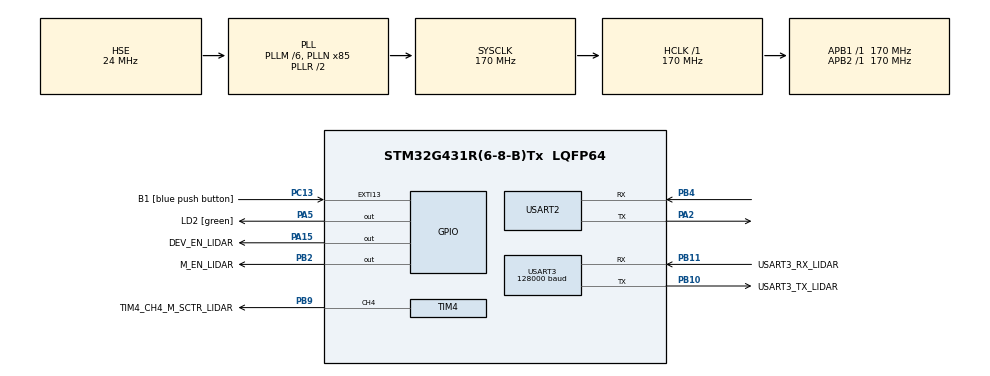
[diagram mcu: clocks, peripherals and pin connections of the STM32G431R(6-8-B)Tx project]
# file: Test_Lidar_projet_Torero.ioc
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Dma.Request0=USART3_RX
Dma.USART3_RX.0.Direction=DMA_PERIPH_TO_MEMORY
Dma.USART3_RX.0.EventEnable=DISABLE
Dma.USART3_RX.0.Instance=DMA1_Channel1
Dma.USART3_RX.0.MemDataAlignment=DMA_MDATAALIGN_BYTE
Dma.USART3_RX.0.MemInc=DMA_MINC_ENABLE
Dma.USART3_RX.0.Mode=DMA_NORMAL
Dma.USART3_RX.0.PeriphDataAlignment=DMA_PDATAALIGN_BYTE
Dma.USART3_RX.0.PeriphInc=DMA_PINC_DISABLE
Dma.USART3_RX.0.Polarity=HAL_DMAMUX_REQ_GEN_RISING
Dma.USART3_RX.0.Priority=DMA_PRIORITY_LOW
Dma.USART3_RX.0.RequestNumber=1
Dma.USART3_RX.0.SignalID=NONE
Dma.USART3_RX.0.SyncEnable=DISABLE
Dma.USART3_RX.0.SyncPolarity=HAL_DMAMUX_SYNC_NO_EVENT
Dma.USART3_RX.0.SyncRequestNumber=1
Dma.USART3_RX.0.SyncSignalID=NONE
Mcu.Family=STM32G4
Mcu.Name=STM32G431R(6-8-B)Tx
Mcu.Package=LQFP64
NVIC.DMA1_Channel1_IRQn=true\:0\:0\:false\:false\:true\:false\:true\:true
NVIC.PriorityGroup=NVIC_PRIORITYGROUP_4
NVIC.USART3_IRQn=true\:0\:0\:false\:false\:true\:true\:true\:true
PA13.GPIO_Label=T_SWDIO
PA13.Mode=Serial_Wire
PA13.Signal=SYS_JTMS-SWDIO
PA14.GPIO_Label=T_SWCLK
PA14.Mode=Serial_Wire
PA14.Signal=SYS_JTCK-SWCLK
PA15.GPIO_Label=DEV_EN_LIDAR
PA15.PinState=GPIO_PIN_SET
PA15.Signal=GPIO_Output
PA2.Mode=Asynchronous
PA2.Signal=USART2_TX
PA5.GPIO_Label=LD2 [green]
PA5.Signal=GPIO_Output
PB10.GPIO_Label=USART3_TX_LIDAR
PB10.Mode=Asynchronous
PB10.Signal=USART3_TX
PB11.GPIO_Label=USART3_RX_LIDAR
PB11.Mode=Asynchronous
PB11.Signal=USART3_RX
PB2.GPIO_Label=M_EN_LIDAR
PB2.PinState=GPIO_PIN_SET
PB2.Signal=GPIO_Output
PB3.GPIO_Label=T_SWO
PB3.Signal=SYS_JTDO-SWO
PB4.Mode=Asynchronous
PB4.Signal=USART2_RX
PB9.GPIO_Label=TIM4_CH4_M_SCTR_LIDAR
PB9.Signal=S_TIM4_CH4
PC13.GPIO_Label=B1 [blue push button]
PC13.Signal=GPXTI13
PC14-OSC32_IN.GPIO_Label=RCC_OSC32_OUT
PC14-OSC32_IN.Signal=RCC_OSC32_IN
PC15-OSC32_OUT.GPIO_Label=RCC_OSC32_OUT
PC15-OSC32_OUT.Signal=RCC_OSC32_OUT
PF0-OSC_IN.GPIO_Label=RCC_OSC_IN
PF0-OSC_IN.Mode=HSE-External-Oscillator
PF0-OSC_IN.Signal=RCC_OSC_IN
PF1-OSC_OUT.GPIO_Label=RCC_OSC_OUT
PF1-OSC_OUT.Mode=HSE-External-Oscillator
PF1-OSC_OUT.Signal=RCC_OSC_OUT
ProjectManager.HeapSize=0x200
ProjectManager.StackSize=0x400
ProjectManager.TargetToolchain=STM32CubeIDE
RCC.ADC12Freq_Value=170000000
RCC.AHBFreq_Value=170000000
RCC.APB1Freq_Value=170000000
RCC.APB1TimFreq_Value=170000000
RCC.APB2Freq_Value=170000000
RCC.APB2TimFreq_Value=170000000
RCC.CortexFreq_Value=170000000
RCC.EXTERNAL_CLOCK_VALUE=12288000
RCC.HCLKFreq_Value=170000000
RCC.HSE_VALUE=24000000
RCC.HSI48_VALUE=48000000
RCC.HSI_VALUE=16000000
RCC.LSE_VALUE=32768
RCC.PLLM=RCC_PLLM_DIV6
RCC.PLLN=85
RCC.PLLSourceVirtual=RCC_PLLSOURCE_HSE
RCC.RTCClockSelection=RCC_RTCCLKSOURCE_LSE
RCC.SYSCLKFreq_VALUE=170000000
RCC.SYSCLKSource=RCC_SYSCLKSOURCE_PLLCLK
RCC.USBFreq_Value=170000000
RCC.VCOOutputFreq_Value=340000000
SH.S_TIM4_CH4.0=TIM4_CH4,PWM Generation4 CH4
TIM4.Channel-PWM\ Generation4\ CH4=TIM_CHANNEL_4
USART2.VirtualMode-Asynchronous=VM_ASYNC
USART3.BaudRate=128000
USART3.VirtualMode-Asynchronous=VM_ASYNC
USART3.WordLength=WORDLENGTH_8B
VP_SYS_VS_DBSignals.Mode=DisableDeadBatterySignals
VP_TIM4_VS_ClockSourceINT.Mode=Internal
board=NUCLEO-G431RB

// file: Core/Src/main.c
/* USER CODE BEGIN Header */
/**
  ******************************************************************************
  * @file           : main.c
  * @brief          : Main program body
  ******************************************************************************
  * @attention
  *
  * Copyright (c) 2024 STMicroelectronics.
  * All rights reserved.
  *
  * This software is licensed under terms that can be found in the LICENSE file
  * in the root directory of this software component.
  * If no LICENSE file comes with this software, it is provided AS-IS.
  *
  ******************************************************************************
  */
/* USER CODE END Header */
#include "main.h"

/* USER CODE BEGIN Includes */
#include "ydlidarx4_header.h"
/* USER CODE END Includes */

TIM_HandleTypeDef htim4;

UART_HandleTypeDef huart2;
UART_HandleTypeDef huart3;
DMA_HandleTypeDef hdma_usart3_rx;

/* USER CODE BEGIN PV */
LIDAR_HandleTypeDef_t hlidar;
/* USER CODE END PV */

void SystemClock_Config(void);
static void MX_GPIO_Init(void);
static void MX_DMA_Init(void);
static void MX_TIM4_Init(void);
static void MX_USART3_UART_Init(void);
static void MX_USART2_UART_Init(void);

/* USER CODE BEGIN 0 */

int __io_putchar(int chr){
	HAL_UART_Transmit(&huart2, (uint8_t*)&chr, 1, HAL_MAX_DELAY);
	return chr;
}

void print_buffer(const char * Name, uint8_t *pData, uint16_t Size, int N_lines){
	printf("%s\r\n", Name);
	if(N_lines >= (int) Size){
		for(int i = 0; i<Size; i++){
			printf("%d : %d\r\n", i, pData[i]);
		}
	}
	else{
		for(int i = 0; i<N_lines; i++){
			printf("%d : %d\r\n", i, pData[i]);
		}
	}
}
/* USER CODE END 0 */

int main(void)
{

  /* MCU Configuration--------------------------------------------------------*/

  /* Reset of all peripherals, Initializes the Flash interface and the Systick. */
  HAL_Init();

  /* Configure the system clock */
  SystemClock_Config();

  /* Initialize all configured peripherals */
  MX_GPIO_Init();
  MX_DMA_Init();
  MX_TIM4_Init();
  MX_USART3_UART_Init();
  MX_USART2_UART_Init();
  /* USER CODE BEGIN 2 */

  LIDAR_Init(&hlidar);
  printf("Init\r\n");
  HAL_Delay(2000);
  /*
    LIDAR_Get_Health_Status(&hlidar);
    print_buffer("Health", hlidar.health_buff, HEALTH_BUFF_SIZE_LIDAR, HEALTH_BUFF_SIZE_LIDAR);
    HAL_Delay(1000);
    LIDAR_Get_Info(&hlidar);
    print_buffer("Info", hlidar.info_buff, INFO_BUFF_SIZE_LIDAR, INFO_BUFF_SIZE_LIDAR);*/
    HAL_StatusTypeDef status = LIDAR_Start(&hlidar);
    printf("status = %d\r\n", status);
    //HAL_Delay(100);

  /* USER CODE END 2 */

  /* Infinite loop */
  /* USER CODE BEGIN WHILE */
  while (1)
  {

	  print_buffer("DATA", hlidar.data_buff, DATA_BUFF_SIZE_LIDAR, 15);
	  LIDAR_get_point(&hlidar);
	  LIDAR_process_frame(&hlidar);
	  //print_buffer("POINT", hlidar.process_frame.point_buff, POINT_BUFF_SIZE_LIDAR, 20);
	  //LIDAR_median_filter(&hlidar);
	  //print_buffer("FILTERED", hlidar.process_frame.filtered_buff, POINT_BUFF_SIZE_LIDAR, 20);
	  HAL_Delay(5);

    /* USER CODE END WHILE */

  }
}

void SystemClock_Config(void)
{
  RCC_OscInitTypeDef RCC_OscInitStruct = {0};
  RCC_ClkInitTypeDef RCC_ClkInitStruct = {0};

  /** Configure the main internal regulator output voltage
  */
  HAL_PWREx_ControlVoltageScaling(PWR_REGULATOR_VOLTAGE_SCALE1_BOOST);

  /** Initializes the RCC Oscillators according to the specified parameters
  * in the RCC_OscInitTypeDef structure.
  */
  RCC_OscInitStruct.OscillatorType = RCC_OSCILLATORTYPE_HSE;
  RCC_OscInitStruct.HSEState = RCC_HSE_ON;
  RCC_OscInitStruct.PLL.PLLState = RCC_PLL_ON;
  RCC_OscInitStruct.PLL.PLLSource = RCC_PLLSOURCE_HSE;
  RCC_OscInitStruct.PLL.PLLM = RCC_PLLM_DIV6;
  RCC_OscInitStruct.PLL.PLLN = 85;
  RCC_OscInitStruct.PLL.PLLP = RCC_PLLP_DIV2;
  RCC_OscInitStruct.PLL.PLLQ = RCC_PLLQ_DIV2;
  RCC_OscInitStruct.PLL.PLLR = RCC_PLLR_DIV2;
  if (HAL_RCC_OscConfig(&RCC_OscInitStruct) != HAL_OK)
  {
    Error_Handler();
  }

  /** Initializes the CPU, AHB and APB buses clocks
  */
  RCC_ClkInitStruct.ClockType = RCC_CLOCKTYPE_HCLK|RCC_CLOCKTYPE_SYSCLK
                              |RCC_CLOCKTYPE_PCLK1|RCC_CLOCKTYPE_PCLK2;
  RCC_ClkInitStruct.SYSCLKSource = RCC_SYSCLKSOURCE_PLLCLK;
  RCC_ClkInitStruct.AHBCLKDivider = RCC_SYSCLK_DIV1;
  RCC_ClkInitStruct.APB1CLKDivider = RCC_HCLK_DIV1;
  RCC_ClkInitStruct.APB2CLKDivider = RCC_HCLK_DIV1;

  if (HAL_RCC_ClockConfig(&RCC_ClkInitStruct, FLASH_LATENCY_4) != HAL_OK)
  {
    Error_Handler();
  }
}

static void MX_TIM4_Init(void)
{

  TIM_ClockConfigTypeDef sClockSourceConfig = {0};
  TIM_MasterConfigTypeDef sMasterConfig = {0};
  TIM_OC_InitTypeDef sConfigOC = {0};

  htim4.Instance = TIM4;
  htim4.Init.Prescaler = 0;
  htim4.Init.CounterMode = TIM_COUNTERMODE_UP;
  htim4.Init.Period = 65535;
  htim4.Init.ClockDivision = TIM_CLOCKDIVISION_DIV1;
  htim4.Init.AutoReloadPreload = TIM_AUTORELOAD_PRELOAD_DISABLE;
  if (HAL_TIM_Base_Init(&htim4) != HAL_OK)
  {
    Error_Handler();
  }
  sClockSourceConfig.ClockSource = TIM_CLOCKSOURCE_INTERNAL;
  if (HAL_TIM_ConfigClockSource(&htim4, &sClockSourceConfig) != HAL_OK)
  {
    Error_Handler();
  }
  if (HAL_TIM_PWM_Init(&htim4) != HAL_OK)
  {
    Error_Handler();
  }
  sMasterConfig.MasterOutputTrigger = TIM_TRGO_RESET;
  sMasterConfig.MasterSlaveMode = TIM_MASTERSLAVEMODE_DISABLE;
  if (HAL_TIMEx_MasterConfigSynchronization(&htim4, &sMasterConfig) != HAL_OK)
  {
    Error_Handler();
  }
  sConfigOC.OCMode = TIM_OCMODE_PWM1;
  sConfigOC.Pulse = 0;
  sConfigOC.OCPolarity = TIM_OCPOLARITY_HIGH;
  sConfigOC.OCFastMode = TIM_OCFAST_DISABLE;
  if (HAL_TIM_PWM_ConfigChannel(&htim4, &sConfigOC, TIM_CHANNEL_4) != HAL_OK)
  {
    Error_Handler();
  }
  HAL_TIM_MspPostInit(&htim4);

}

static void MX_USART2_UART_Init(void)
{

  huart2.Instance = USART2;
  huart2.Init.BaudRate = 115200;
  huart2.Init.WordLength = UART_WORDLENGTH_8B;
  huart2.Init.StopBits = UART_STOPBITS_1;
  huart2.Init.Parity = UART_PARITY_NONE;
  huart2.Init.Mode = UART_MODE_TX_RX;
  huart2.Init.HwFlowCtl = UART_HWCONTROL_NONE;
  huart2.Init.OverSampling = UART_OVERSAMPLING_16;
  huart2.Init.OneBitSampling = UART_ONE_BIT_SAMPLE_DISABLE;
  huart2.Init.ClockPrescaler = UART_PRESCALER_DIV1;
  huart2.AdvancedInit.AdvFeatureInit = UART_ADVFEATURE_NO_INIT;
  if (HAL_UART_Init(&huart2) != HAL_OK)
  {
    Error_Handler();
  }
  if (HAL_UARTEx_SetTxFifoThreshold(&huart2, UART_TXFIFO_THRESHOLD_1_8) != HAL_OK)
  {
    Error_Handler();
  }
  if (HAL_UARTEx_SetRxFifoThreshold(&huart2, UART_RXFIFO_THRESHOLD_1_8) != HAL_OK)
  {
    Error_Handler();
  }
  if (HAL_UARTEx_DisableFifoMode(&huart2) != HAL_OK)
  {
    Error_Handler();
  }

}

static void MX_USART3_UART_Init(void)
{

  huart3.Instance = USART3;
  huart3.Init.BaudRate = 128000;
  huart3.Init.WordLength = UART_WORDLENGTH_8B;
  huart3.Init.StopBits = UART_STOPBITS_1;
  huart3.Init.Parity = UART_PARITY_NONE;
  huart3.Init.Mode = UART_MODE_TX_RX;
  huart3.Init.HwFlowCtl = UART_HWCONTROL_NONE;
  huart3.Init.OverSampling = UART_OVERSAMPLING_16;
  huart3.Init.OneBitSampling = UART_ONE_BIT_SAMPLE_DISABLE;
  huart3.Init.ClockPrescaler = UART_PRESCALER_DIV1;
  huart3.AdvancedInit.AdvFeatureInit = UART_ADVFEATURE_NO_INIT;
  if (HAL_UART_Init(&huart3) != HAL_OK)
  {
    Error_Handler();
  }
  if (HAL_UARTEx_SetTxFifoThreshold(&huart3, UART_TXFIFO_THRESHOLD_1_8) != HAL_OK)
  {
    Error_Handler();
  }
  if (HAL_UARTEx_SetRxFifoThreshold(&huart3, UART_RXFIFO_THRESHOLD_1_8) != HAL_OK)
  {
    Error_Handler();
  }
  if (HAL_UARTEx_DisableFifoMode(&huart3) != HAL_OK)
  {
    Error_Handler();
  }

}

static void MX_DMA_Init(void)
{

  /* DMA controller clock enable */
  __HAL_RCC_DMAMUX1_CLK_ENABLE();
  __HAL_RCC_DMA1_CLK_ENABLE();

  /* DMA interrupt init */
  /* DMA1_Channel1_IRQn interrupt configuration */
  HAL_NVIC_SetPriority(DMA1_Channel1_IRQn, 0, 0);
  HAL_NVIC_EnableIRQ(DMA1_Channel1_IRQn);

}

static void MX_GPIO_Init(void)
{
  GPIO_InitTypeDef GPIO_InitStruct = {0};

  /* GPIO Ports Clock Enable */
  __HAL_RCC_GPIOC_CLK_ENABLE();
  __HAL_RCC_GPIOF_CLK_ENABLE();
  __HAL_RCC_GPIOA_CLK_ENABLE();
  __HAL_RCC_GPIOB_CLK_ENABLE();

  /*Configure GPIO pin Output Level */
  HAL_GPIO_WritePin(LD2_GPIO_Port, LD2_Pin, GPIO_PIN_RESET);

  /*Configure GPIO pin Output Level */
  HAL_GPIO_WritePin(M_EN_LIDAR_GPIO_Port, M_EN_LIDAR_Pin, GPIO_PIN_SET);

  /*Configure GPIO pin Output Level */
  HAL_GPIO_WritePin(DEV_EN_LIDAR_GPIO_Port, DEV_EN_LIDAR_Pin, GPIO_PIN_SET);

  /*Configure GPIO pin : B1_Pin */
  GPIO_InitStruct.Pin = B1_Pin;
  GPIO_InitStruct.Mode = GPIO_MODE_IT_RISING;
  GPIO_InitStruct.Pull = GPIO_NOPULL;
  HAL_GPIO_Init(B1_GPIO_Port, &GPIO_InitStruct);

  /*Configure GPIO pins : LD2_Pin DEV_EN_LIDAR_Pin */
  GPIO_InitStruct.Pin = LD2_Pin|DEV_EN_LIDAR_Pin;
  GPIO_InitStruct.Mode = GPIO_MODE_OUTPUT_PP;
  GPIO_InitStruct.Pull = GPIO_NOPULL;
  GPIO_InitStruct.Speed = GPIO_SPEED_FREQ_LOW;
  HAL_GPIO_Init(GPIOA, &GPIO_InitStruct);

  /*Configure GPIO pin : M_EN_LIDAR_Pin */
  GPIO_InitStruct.Pin = M_EN_LIDAR_Pin;
  GPIO_InitStruct.Mode = GPIO_MODE_OUTPUT_PP;
  GPIO_InitStruct.Pull = GPIO_NOPULL;
  GPIO_InitStruct.Speed = GPIO_SPEED_FREQ_LOW;
  HAL_GPIO_Init(M_EN_LIDAR_GPIO_Port, &GPIO_InitStruct);

}

void Error_Handler(void)
{
  __disable_irq();
  while (1)
  {
  }
}
